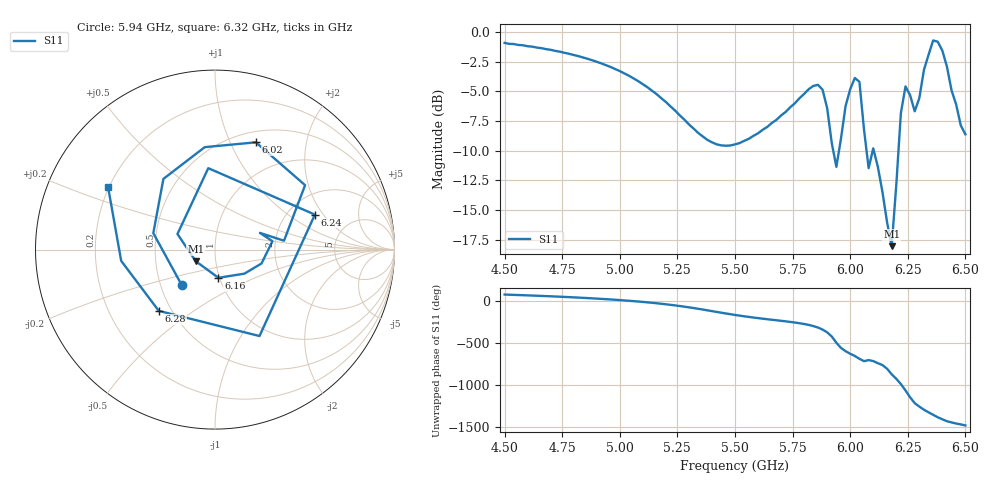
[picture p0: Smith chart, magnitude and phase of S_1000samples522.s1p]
! TOUCHSTONE file generated by CST MICROWAVE STUDIO
! Date and time: Fri Oct 28 11:11:23 2022
! Project name: L.cst
! Parameters = {Di=1.27; Epsilon_r=1.56; InnerDiameter=1.27; Length=2; Lf=10; Lg=60; OuterConductorThickness=0.2921; OuterDiameter=3.6; Wf=3; Wp=41.2; de=1.5; df=6.8; g=0.8; gx=4.14789; gy=2.38187; h=2.34; hf=1.524; px=14.027; py=14.172; w=9.7; wx=9.87913; wy=11.7901}
! Header version: 2018
! Port assignment regex: !\s*Touchstone port\s*([0-9]+)\s*=\s*(CST MWS port|CST DS port)\s*([0-9]+|Zmin|Zmax)\s*\(\"(.*)\"\)(\s*mode\s*([0-9]+))?.*
! Touchstone port assignment:
! Touchstone port 1 = CST MWS port 1 ("")
# GHz S DB R 50
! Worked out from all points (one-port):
!   101 points, 4.5 GHz to 6.5 GHz, reference 50 ohm
!   lowest |S11| = -18.0 dB at 6.18 GHz (marker M1), VSWR 1.29, Z = 40 - j5.27 ohm
!   |S11| at or under -10 dB: 5.926418 GHz to 5.951414 GHz (25 MHz wide, 0.421 % of centre); 6.070921 GHz to 6.09765 GHz (26.73 MHz wide, 0.439 % of centre); 6.103 GHz to 6.21 GHz (107 MHz wide, 1.74 % of centre)
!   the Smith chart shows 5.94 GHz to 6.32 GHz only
!   S11 on the Smith chart (normalised r, x): 5.94 GHz: 0.64, -0.27; 6.02 GHz: 0.62, +1.25; 6.16 GHz: 0.99, -0.32; 6.24 GHz: 2.78, +1.66; 6.28 GHz: 0.43, -0.37; 6.32 GHz: 0.20, +0.26
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4.5  -0.92 80.2
4.76  -1.76 51.8
5  -3.30 14.1
5.26  -7.02 -56.4
5.5  -9.47 -162.6
5.76  -6.00 106.9
5.84  -4.55 64.9
5.88  -4.86 23.5
5.9  -6.41 -9.5
5.92  -9.36 -59.0
5.94  -11.36 -133.6
5.96  -8.98 165.1
6  -4.83 95.7
6.02  -3.88 69.2
6.04  -4.19 35.6
6.06  -8.23 7.3
6.16  -16.02 -83.1
6.18  -18.04 -148.9
6.2  -12.90 157.4
6.22  -6.84 94.7
6.24  -4.59 19.3
6.26  -5.33 -62.8
6.28  -6.68 -132.5
6.32  -3.20 149.5
6.36  -0.72 89.2
6.4  -1.57 35.5
6.44  -4.93 -1.7
6.5  -8.62 -37.9
